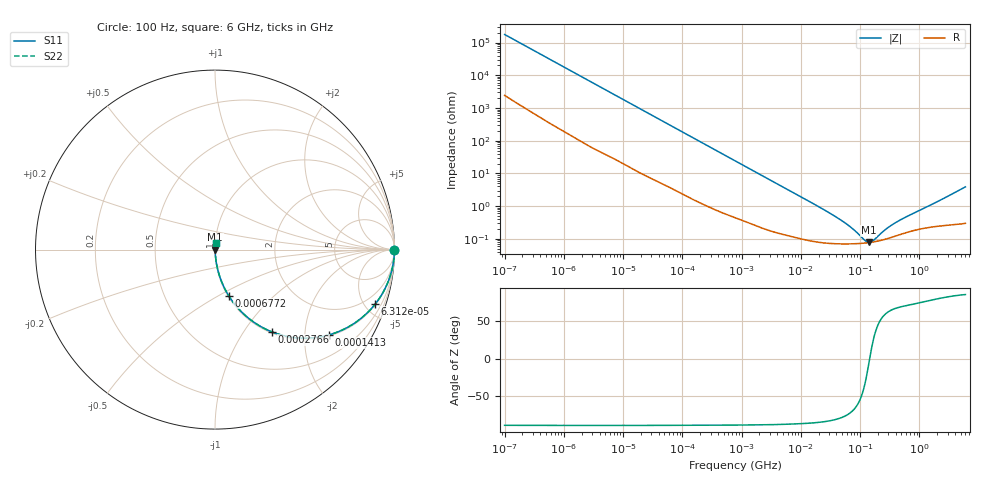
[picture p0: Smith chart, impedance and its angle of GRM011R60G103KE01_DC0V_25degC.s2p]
!Murata Part Number: GRM011R60G103KE01
!These Parameters are Measured in Series Mode Connection
!  o--ll--o
!Port1  Port2
!  o------o
!Operation Temp=25[degC], DC Bias Voltage=0[V]
!Freq. Start=100[Hz] Stop=6[GHz], 401[Steps]
!Data Generated on Nov 6, 2018
# Hz S RI R 50
!Freq.(Hz) S11(Real) S11(Imag) S21(Real) S21(Imag) S12(Real) S12(Imag) S22(Real) S22(Imag)
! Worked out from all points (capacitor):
!   401 points, 100 Hz to 6 GHz, reference 50 ohm
!   read as one part in series: C = 8.97 nF near 109.4 Hz
!   lowest |Z| = 77.6 mohm at 139.6 MHz (marker M1)
!   series resonance near 145.5 MHz, so ESL is about 130 pH
!   S11 on the Smith chart (normalised r, x): 100 Hz: open; 63.12 kHz: 1.07, -5.86; 141.3 kHz: 1.03, -2.64; 276.6 kHz: 1.02, -1.35; 677.2 kHz: 1.01, -0.56; 6 GHz: 1.01, +0.08
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100  1 -0.000565  8.08e-06 0.000565  8.08e-06 0.000565  1 -0.000565
2008.354  0.9998 -0.0111  0.000237 0.0111  0.000237 0.0111  0.9998 -0.0111
12040.8  0.995 -0.0655  0.00502 0.0655  0.00502 0.0655  0.995 -0.0655
40334.87  0.9521 -0.2077  0.0479 0.2077  0.0479 0.2077  0.9521 -0.2077
63115.27  0.8928 -0.3032  0.1072 0.3032  0.1072 0.3032  0.8928 -0.3032
94437.15  0.7914 -0.4  0.2086 0.4  0.2086 0.4  0.7914 -0.4
141303  0.6329 -0.4756  0.3671 0.4756  0.3671 0.4756  0.6329 -0.4756
193316.5  0.4826 -0.4931  0.5174 0.4931  0.5174 0.4931  0.4826 -0.4931
276587.1  0.3164 -0.4581  0.6836 0.4581  0.6836 0.4581  0.3164 -0.4581
432798.5  0.1623 -0.3611  0.8377 0.3611  0.8377 0.3611  0.1623 -0.3611
677235.1  0.0758 -0.256  0.9242 0.256  0.9242 0.256  0.0758 -0.256
774596.7  0.0598 -0.2281  0.9402 0.2281  0.9402 0.2281  0.0598 -0.2281
2594782  0.00731 -0.073  0.9927 0.073  0.9927 0.073  0.00731 -0.073
1.555665e7  0.001 -0.0124  0.999 0.0124  0.999 0.0124  0.001 -0.0124
5.211241e7  0.000712 -0.00328  0.9993 0.00328  0.9993 0.00328  0.000712 -0.00328
7.797396e7  0.000711 -0.00179  0.9993 0.00179  0.9993 0.00179  0.000711 -0.00179
1.220122e8  0.000747 -0.000472  0.9993 0.000472  0.9993 0.000472  0.000747 -0.000472
1.395531e8  0.000767 -0.00011  0.9992 0.00011  0.9992 0.00011  0.000767 -0.00011
1.669249e8  0.000805 0.000365  0.9992 -0.000365  0.9992 -0.000365  0.000805 0.000365
3.124326e8  0.00106 0.00212  0.9989 -0.00212  0.9989 -0.00212  0.00106 0.00212
5.59173e8  0.00151 0.00414  0.9985 -0.00414  0.9985 -0.00414  0.00151 0.00414
6e9  0.00446 0.0385  0.9955 -0.0385  0.9955 -0.0385  0.00446 0.0385
